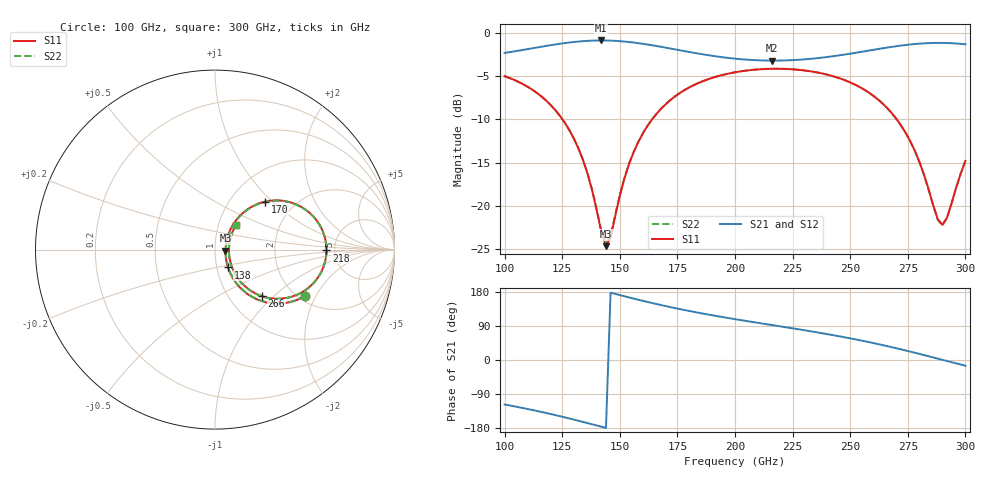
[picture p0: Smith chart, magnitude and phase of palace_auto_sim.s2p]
#  GHZ S DB R 50
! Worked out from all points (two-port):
!   101 points, 100 GHz to 300 GHz, reference 50 ohm
!   highest |S21| = -0.86 dB at 142 GHz (marker M1); lowest = -3.2 dB at 216 GHz (marker M2)
!   |S21| within 3 dB of the highest: start of sweep to end of sweep
!   lowest |S11| = -24.7 dB at 144 GHz (marker M3), VSWR 1.12, Z = 56.2 - j0.661 ohm
!   |S11| at or under -10 dB: 125.1 GHz to 164 GHz (38.88 GHz wide, 26.9 % of centre); 270.2 GHz to end of sweep
!   |S22| runs from -24.4 to -4.1 dB; largest |S21 - S12| = 1e-13
!   S11 on the Smith chart (normalised r, x): 100 GHz: 2.15, -1.63; 138 GHz: 1.13, -0.23; 170 GHz: 1.44, +0.91; 218 GHz: 4.28, -0.06; 266 GHz: 1.41, -0.85; 300 GHz: 1.21, +0.35
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100  -4.99 -27.5  -2.30 -117.4  -2.30 -117.4  -5.00 -27.4
120  -8.33 -48.2  -1.41 -142.6  -1.41 -142.6  -8.33 -48.0
134  -14.68 -58.1  -0.94 -163.3  -0.94 -163.3  -14.66 -57.5
138  -18.22 -54.1  -0.88 -169.6  -0.88 -169.6  -18.16 -53.3
142  -23.08 -32.3  -0.86 -176.0  -0.86 -176.0  -22.88 -31.3
144  -24.67 -5.8  -0.87 -179.2  -0.87 -179.2  -24.36 -5.5
146  -23.66 23.0  -0.88 177.7  -0.88 177.7  -23.40 22.2
152  -16.83 52.8  -0.99 168.2  -0.99 168.2  -16.77 52.0
156  -13.80 54.3  -1.10 162.1  -1.10 162.1  -13.76 53.7
168  -8.74 45.6  -1.60 144.8  -1.60 144.8  -8.73 45.2
170  -8.22 43.6  -1.70 142.2  -1.70 142.2  -8.21 43.3
184  -5.80 29.8  -2.37 124.9  -2.37 124.9  -5.80 29.5
200  -4.55 15.1  -2.97 107.8  -2.97 107.8  -4.54 14.9
216  -4.14 1.3  -3.19 92.2  -3.19 92.2  -4.14 1.1
218  -4.14 -0.4  -3.19 90.3  -3.19 90.3  -4.13 -0.6
234  -4.48 -14.4  -2.96 74.6  -2.96 74.6  -4.48 -14.6
252  -5.96 -31.3  -2.30 54.7  -2.30 54.7  -5.96 -31.5
266  -8.67 -44.7  -1.69 36.7  -1.69 36.7  -8.67 -45.0
268  -9.26 -46.5  -1.60 33.9  -1.60 33.9  -9.26 -46.7
278  -13.60 -51.4  -1.28 19.2  -1.28 19.2  -13.61 -51.8
290  -22.19 0.7  -1.15 0.5  -1.15 0.5  -22.29 0.6
300  -14.80 49.5  -1.30 -15.0  -1.30 -15.0  -14.82 49.6
